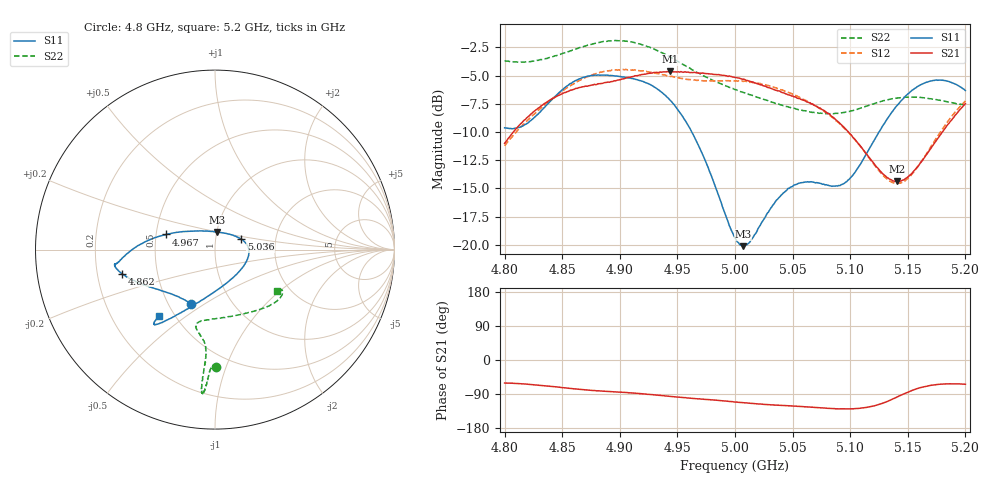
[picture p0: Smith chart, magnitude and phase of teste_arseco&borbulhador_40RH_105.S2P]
! Network Analyzer HP8722D
! Hewlett-Packard
! Data name: Linha & Wilkinson
! Saver's name: Rodrigo Anjos
! Comments: Teste da utilização de aquisição
! continua pelo VNA HP8722D
! Time and date: 15/4/2025 17:13
!  Frequency  S11  S21  S12  S22
# HZ  S  MA R 50
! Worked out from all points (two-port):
!   401 points, 4.8 GHz to 5.2 GHz, reference 50 ohm
!   highest |S21| = -4.62 dB at 4.944 GHz (marker M1); lowest = -14.4 dB at 5.141 GHz (marker M2)
!   |S21| within 3 dB of the highest: 4.833 GHz to 5.069 GHz (236.2 MHz wide, 4.77 % of centre); 5.198649 GHz to end of sweep
!   lowest |S11| = -20.1 dB at 5.007 GHz (marker M3), VSWR 1.22, Z = 50.1 + j9.91 ohm
!   |S11| at or under -10 dB: 4.962 GHz to 5.125 GHz (162.6 MHz wide, 3.22 % of centre)
!   |S22| runs from -8.4 to -1.9 dB; largest |S21 - S12| = 0.88
!   S11 on the Smith chart (normalised r, x): 4.8 GHz: 0.65, -0.44; 4.862 GHz: 0.31, -0.12; 4.967 GHz: 0.57, +0.10; 5.036 GHz: 1.33, +0.16; 5.2 GHz: 0.41, -0.40
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4.8e9  0.3302 -113.7  0.2815 -60.7  0.2748 -174.9  0.6541 -89.3
4.819e9  0.3441 -133.4  0.3645 -63.7  0.352 -173.2  0.6478 -91.1
4.862e9  0.5359 -165.5  0.4942 -76.4  0.527 -176.2  0.7389 -93.4
4.867e9  0.5495 -167.5  0.501 -78.1  0.5414 -177.2  0.7548 -93.7
4.902e9  0.5548 -172.0  0.5428 -85.2  0.5982 175.4  0.803 -95.2
4.934e9  0.4852 -177.8  0.5807 -93.3  0.5731 172.1  0.7197 -95.5
4.944e9  0.4358 177.6  0.5872 -96.0  0.5577 172.0  0.6793 -95.2
4.967e9  0.2849 162.8  0.5791 -102.0  0.5354 174.2  0.5811 -94.7
5e9  0.1074 107.5  0.5522 -111.0  0.5333 176.5  0.4877 -99.3
5.007e9  0.09851 83.8  0.5421 -112.6  0.5302 176.6  0.474 -100.9
5.014e9  0.1051 61.9  0.5298 -114.5  0.5271 176.3  0.4619 -102.4
5.036e9  0.1577 22.0  0.4838 -119.1  0.4966 175.1  0.4223 -103.7
5.05e9  0.1814 7.4  0.4565 -121.5  0.4653 174.6  0.4042 -100.6
5.067e9  0.1899 -11.0  0.421 -124.6  0.4221 174.0  0.3863 -91.9
5.086e9  0.1818 -41.5  0.3647 -128.1  0.362 173.9  0.3818 -77.8
5.097e9  0.1905 -64.7  0.3222 -129.1  0.321 174.5  0.3885 -68.6
5.134e9  0.3728 -115.9  0.1956 -107.0  0.192 -159.8  0.4413 -43.4
5.141e9  0.4162 -119.9  0.1909 -97.2  0.1871 -148.8  0.4475 -40.2
5.153e9  0.4809 -124.7  0.206 -81.1  0.2039 -130.2  0.4516 -35.9
5.17e9  0.5322 -128.4  0.2672 -66.9  0.2722 -113.0  0.4442 -32.0
5.184e9  0.532 -129.8  0.3376 -62.9  0.3481 -107.2  0.4315 -31.0
5.2e9  0.4829 -130.3  0.4224 -63.9  0.4341 -106.0  0.4153 -33.3
